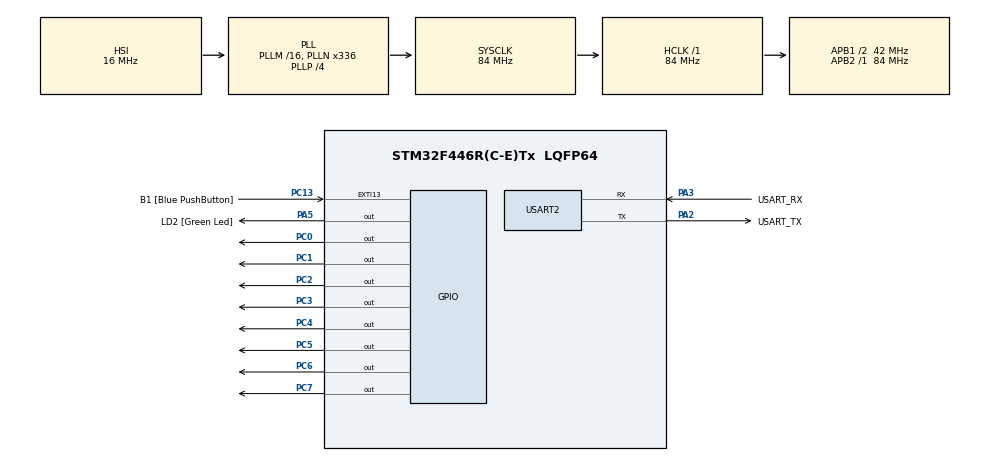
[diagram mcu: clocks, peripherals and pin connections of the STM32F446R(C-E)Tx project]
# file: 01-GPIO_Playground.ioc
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Mcu.Family=STM32F4
Mcu.Name=STM32F446R(C-E)Tx
Mcu.Package=LQFP64
NVIC.PriorityGroup=NVIC_PRIORITYGROUP_0
PA13.GPIO_Label=TMS
PA13.Mode=Serial_Wire
PA13.Signal=SYS_JTMS-SWDIO
PA14.GPIO_Label=TCK
PA14.Mode=Serial_Wire
PA14.Signal=SYS_JTCK-SWCLK
PA2.GPIO_Label=USART_TX
PA2.Mode=Asynchronous
PA2.Signal=USART2_TX
PA3.GPIO_Label=USART_RX
PA3.Mode=Asynchronous
PA3.Signal=USART2_RX
PA5.GPIO_Label=LD2 [Green Led]
PA5.Signal=GPIO_Output
PB3.GPIO_Label=SWO
PB3.Signal=SYS_JTDO-SWO
PC0.Signal=GPIO_Output
PC1.Signal=GPIO_Output
PC13.GPIO_Label=B1 [Blue PushButton]
PC13.GPIO_ModeDefaultEXTI=GPIO_MODE_IT_FALLING
PC13.Signal=GPXTI13
PC14-OSC32_IN.Mode=LSE-External-Oscillator
PC14-OSC32_IN.Signal=RCC_OSC32_IN
PC15-OSC32_OUT.Mode=LSE-External-Oscillator
PC15-OSC32_OUT.Signal=RCC_OSC32_OUT
PC2.Signal=GPIO_Output
PC3.Signal=GPIO_Output
PC4.Signal=GPIO_Output
PC5.Signal=GPIO_Output
PC6.Signal=GPIO_Output
PC7.Signal=GPIO_Output
PH0-OSC_IN.Mode=HSE-External-Oscillator
PH0-OSC_IN.Signal=RCC_OSC_IN
PH1-OSC_OUT.Mode=HSE-External-Oscillator
PH1-OSC_OUT.Signal=RCC_OSC_OUT
ProjectManager.HeapSize=0x200
ProjectManager.StackSize=0x400
ProjectManager.TargetToolchain=STM32CubeIDE
RCC.48MHZClocksFreq_Value=84000000
RCC.AHBFreq_Value=84000000
RCC.APB1CLKDivider=RCC_HCLK_DIV2
RCC.APB1Freq_Value=42000000
RCC.APB1TimFreq_Value=84000000
RCC.APB2Freq_Value=84000000
RCC.APB2TimFreq_Value=84000000
RCC.CortexFreq_Value=84000000
RCC.FLatency-AdvancedSettings=FLASH_LATENCY_2
RCC.HCLKFreq_Value=84000000
RCC.HSE_VALUE=8000000
RCC.HSI_VALUE=16000000
RCC.PLLN=336
RCC.PLLP=RCC_PLLP_DIV4
RCC.SYSCLKFreq_VALUE=84000000
RCC.SYSCLKSource=RCC_SYSCLKSOURCE_PLLCLK
RCC.USBFreq_Value=168000000
RCC.VCOOutputFreq_Value=336000000
USART2.VirtualMode=VM_ASYNC
board=NUCLEO-F446RE

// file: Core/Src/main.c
/* USER CODE BEGIN Header */
/**
  ******************************************************************************
  * @file           : main.c
  * @brief          : GPIO playground project for STM32 Nucleo-F446RE
  ******************************************************************************
  * @board          : NUCLEO-F446RE
  * @mcu            : STM32F446RET6
  * @author         : Omid_Madhi
  * @date           : 2026-05-19
  * @version        : 0.1.0
  * @note           : Generated with STM32CubeIDE 1.15.1
  *
  *@details
  * This project demonstrates basic GPIO output control using STM32 HAL.
  * 8 LEDs are connected to pins 0-7 of port C and blink with a time delay.
  *
  * @attention
  *
  * Copyright (c) 2026 STMicroelectronics.
  * All rights reserved.
  *
  * This software is licensed under terms that can be found in the LICENSE file
  * in the root directory of this software component.
  * If no LICENSE file comes with this software, it is provided AS-IS.
  *
  ******************************************************************************
  */
/* USER CODE END Header */
#include "main.h"

UART_HandleTypeDef huart2;

void SystemClock_Config(void);
static void MX_GPIO_Init(void);
static void MX_USART2_UART_Init(void);
void Knight_Rider_Mirror_Pattern (void);

int main(void)
{

  /* USER CODE BEGIN 1 */
  void GPIO_Bit_Control_HAL (void);
  void GPIO_Bit_Control_ODR (void);
  void Knight_Rider_Single_Bit (void);
  /* USER CODE END 1 */

  /* MCU Configuration--------------------------------------------------------*/

  /* Reset of all peripherals, Initializes the Flash interface and the Systick. */
  HAL_Init();

  /* Configure the system clock */
  SystemClock_Config();

  /* Initialize all configured peripherals */
  MX_GPIO_Init();
  MX_USART2_UART_Init();

  /* Infinite loop */
  /* USER CODE BEGIN WHILE */
  while (1)
  {

void Knight_Rider_Mirror_Pattern (void)
{
	/**
	 * @brief      Runs Double-Bit_ Knight Rider Animation
	 * @param      None
	 * @retval     None
	 * @note       Uses HAL Library
	 * @warning    None
	 * @todo       None
	 * @author     Omid Madhi
	 */
	//Animation_Pattern
	//10000001
	//01000010
	//00100100
	//00011000
	//00100100
	//01000010

	uint16_t mask=0x00FF;
	uint16_t pattern=0;
	for(int i=0;i<=3;i++)
	{
		if (i==4) i++;
		pattern=(1<<i)|(1<<(7-i));
		GPIOC->ODR=(GPIOC->ODR & ~mask)| pattern;
		HAL_Delay(500);
	}
	  /*for(int i=2;i>=1;i--)
	  {
		  pattern=(1<<i)|(1<<(7-i));
		  GPIOC->ODR=(GPIOC->ODR & ~mask)| pattern;
		  HAL_Delay(500);
	  }*/
}

    /* USER CODE END WHILE */

  }
}

void SystemClock_Config(void)
{
  RCC_OscInitTypeDef RCC_OscInitStruct = {0};
  RCC_ClkInitTypeDef RCC_ClkInitStruct = {0};

  /** Configure the main internal regulator output voltage
  */
  __HAL_RCC_PWR_CLK_ENABLE();
  __HAL_PWR_VOLTAGESCALING_CONFIG(PWR_REGULATOR_VOLTAGE_SCALE3);

  /** Initializes the RCC Oscillators according to the specified parameters
  * in the RCC_OscInitTypeDef structure.
  */
  RCC_OscInitStruct.OscillatorType = RCC_OSCILLATORTYPE_HSI;
  RCC_OscInitStruct.HSIState = RCC_HSI_ON;
  RCC_OscInitStruct.HSICalibrationValue = RCC_HSICALIBRATION_DEFAULT;
  RCC_OscInitStruct.PLL.PLLState = RCC_PLL_ON;
  RCC_OscInitStruct.PLL.PLLSource = RCC_PLLSOURCE_HSI;
  RCC_OscInitStruct.PLL.PLLM = 16;
  RCC_OscInitStruct.PLL.PLLN = 336;
  RCC_OscInitStruct.PLL.PLLP = RCC_PLLP_DIV4;
  RCC_OscInitStruct.PLL.PLLQ = 2;
  RCC_OscInitStruct.PLL.PLLR = 2;
  if (HAL_RCC_OscConfig(&RCC_OscInitStruct) != HAL_OK)
  {
    Error_Handler();
  }

  /** Initializes the CPU, AHB and APB buses clocks
  */
  RCC_ClkInitStruct.ClockType = RCC_CLOCKTYPE_HCLK|RCC_CLOCKTYPE_SYSCLK
                              |RCC_CLOCKTYPE_PCLK1|RCC_CLOCKTYPE_PCLK2;
  RCC_ClkInitStruct.SYSCLKSource = RCC_SYSCLKSOURCE_PLLCLK;
  RCC_ClkInitStruct.AHBCLKDivider = RCC_SYSCLK_DIV1;
  RCC_ClkInitStruct.APB1CLKDivider = RCC_HCLK_DIV2;
  RCC_ClkInitStruct.APB2CLKDivider = RCC_HCLK_DIV1;

  if (HAL_RCC_ClockConfig(&RCC_ClkInitStruct, FLASH_LATENCY_2) != HAL_OK)
  {
    Error_Handler();
  }
}

static void MX_USART2_UART_Init(void)
{

  huart2.Instance = USART2;
  huart2.Init.BaudRate = 115200;
  huart2.Init.WordLength = UART_WORDLENGTH_8B;
  huart2.Init.StopBits = UART_STOPBITS_1;
  huart2.Init.Parity = UART_PARITY_NONE;
  huart2.Init.Mode = UART_MODE_TX_RX;
  huart2.Init.HwFlowCtl = UART_HWCONTROL_NONE;
  huart2.Init.OverSampling = UART_OVERSAMPLING_16;
  if (HAL_UART_Init(&huart2) != HAL_OK)
  {
    Error_Handler();
  }

}

static void MX_GPIO_Init(void)
{
  GPIO_InitTypeDef GPIO_InitStruct = {0};

  /* GPIO Ports Clock Enable */
  __HAL_RCC_GPIOC_CLK_ENABLE();
  __HAL_RCC_GPIOH_CLK_ENABLE();
  __HAL_RCC_GPIOA_CLK_ENABLE();
  __HAL_RCC_GPIOB_CLK_ENABLE();

  /*Configure GPIO pin Output Level */
  HAL_GPIO_WritePin(GPIOC, GPIO_PIN_0|GPIO_PIN_1|GPIO_PIN_2|GPIO_PIN_3
                          |GPIO_PIN_4|GPIO_PIN_5|GPIO_PIN_6|GPIO_PIN_7, GPIO_PIN_RESET);

  /*Configure GPIO pin Output Level */
  HAL_GPIO_WritePin(LD2_GPIO_Port, LD2_Pin, GPIO_PIN_RESET);

  /*Configure GPIO pin : B1_Pin */
  GPIO_InitStruct.Pin = B1_Pin;
  GPIO_InitStruct.Mode = GPIO_MODE_IT_FALLING;
  GPIO_InitStruct.Pull = GPIO_NOPULL;
  HAL_GPIO_Init(B1_GPIO_Port, &GPIO_InitStruct);

  /*Configure GPIO pins : PC0 PC1 PC2 PC3
                           PC4 PC5 PC6 PC7 */
  GPIO_InitStruct.Pin = GPIO_PIN_0|GPIO_PIN_1|GPIO_PIN_2|GPIO_PIN_3
                          |GPIO_PIN_4|GPIO_PIN_5|GPIO_PIN_6|GPIO_PIN_7;
  GPIO_InitStruct.Mode = GPIO_MODE_OUTPUT_PP;
  GPIO_InitStruct.Pull = GPIO_NOPULL;
  GPIO_InitStruct.Speed = GPIO_SPEED_FREQ_LOW;
  HAL_GPIO_Init(GPIOC, &GPIO_InitStruct);

  /*Configure GPIO pin : LD2_Pin */
  GPIO_InitStruct.Pin = LD2_Pin;
  GPIO_InitStruct.Mode = GPIO_MODE_OUTPUT_PP;
  GPIO_InitStruct.Pull = GPIO_NOPULL;
  GPIO_InitStruct.Speed = GPIO_SPEED_FREQ_LOW;
  HAL_GPIO_Init(LD2_GPIO_Port, &GPIO_InitStruct);

}

/* USER CODE BEGIN 4 */
void GPIO_Bit_Control_HAL (void)
{
	/**
	 * @brief      Runs Single-Bit_Control With_HAL
	 * @param      None
	 * @retval     None
	 * @note       Uses HAL Library
	 * @warning    None
	 * @todo       None
	 * @author     Omid Madhi
	 */
	//Animation_Pattern
	// 00000001
	// 00000010
	// 00000100
	// 00001000
	// 00010000
	// 00100000
	// 01000000
	// 10000000

	HAL_GPIO_WritePin(GPIOC, GPIO_PIN_0,SET);
	HAL_Delay(1000);
	HAL_GPIO_WritePin(GPIOC, GPIO_PIN_0,RESET);
	HAL_GPIO_WritePin(GPIOC,GPIO_PIN_1,SET);
	HAL_Delay(1000);
	HAL_GPIO_WritePin(GPIOC, GPIO_PIN_1,RESET);
	HAL_GPIO_WritePin(GPIOC,GPIO_PIN_2,SET);
	HAL_Delay(1000);
	HAL_GPIO_WritePin(GPIOC, GPIO_PIN_2,RESET);
	HAL_GPIO_WritePin(GPIOC,GPIO_PIN_3,SET);
	HAL_Delay(1000);
	HAL_GPIO_WritePin(GPIOC, GPIO_PIN_3,RESET);
	HAL_GPIO_WritePin(GPIOC, GPIO_PIN_4,SET);
	HAL_Delay(1000);
	HAL_GPIO_WritePin(GPIOC, GPIO_PIN_4,RESET);
	HAL_GPIO_WritePin(GPIOC,GPIO_PIN_5,SET);
	HAL_Delay(1000);
	HAL_GPIO_WritePin(GPIOC, GPIO_PIN_5,RESET);
	HAL_GPIO_WritePin(GPIOC,GPIO_PIN_6,SET);
	HAL_Delay(1000);
	HAL_GPIO_WritePin(GPIOC, GPIO_PIN_6,RESET);
	HAL_GPIO_WritePin(GPIOC,GPIO_PIN_7,SET);
	HAL_Delay(1000);
	HAL_GPIO_WritePin(GPIOC, GPIO_PIN_7,RESET);
	return;
}

void GPIO_Bit_Control_ODR (void)
{
	/**
	 * @brief      Runs Single-Bit_Control With_ODR
	 * @param      None
	 * @retval     None
	 * @note       Uses direct ODR manipulation
	 * @warning    None
	 * @todo       None
	 * @author     Omid Madhi
	 */
	//Animation_Pattern
	// 00000001
	// 00000010
	// 00000100
	// 00001000
	// 00010000
	// 00100000
	// 01000000
	// 10000000

	uint16_t mask=0x00FF;
	for(int i=0;i<=7;i++)
	{
		GPIOC->ODR=(GPIOC->ODR & ~mask)| (1<<i);
		HAL_Delay(500);
	}
	return;
}

void Knight_Rider_Single_Bit (void)
{
	/**
	 *@brief      Runs Single-Bit Knight Rider Animation
	 *@param      None
	 *@retval     None
	 *@note       Uses direct ODR manipulation
	 *@warning    None
	 *@todo       None
	 *@author     Omid Madhi
	 */
	//Animation_Pattern
	// 00000001
	// 00000010
	// 00000100
	// 00001000
	// 00010000
	// 00100000
	// 01000000
	// 10000000
	// 01000000
	// 00100000
	// 00010000
	// 00001000
	// 00000100
	// 00000010

	uint16_t mask=0x00FF;
	for(int i=0;i<=7;i++)
	{
		GPIOC->ODR=(GPIOC->ODR & ~mask)| (1<<i);
		HAL_Delay(500);
	}
	for(int i=6;i>=1;i--)
	{
		GPIOC->ODR=(GPIOC->ODR & ~mask)| (1<<i);
		HAL_Delay(500);
	}
	return;
}

/* USER CODE END 4 */

void Error_Handler(void)
{
  __disable_irq();
  while (1)
  {
  }
}
